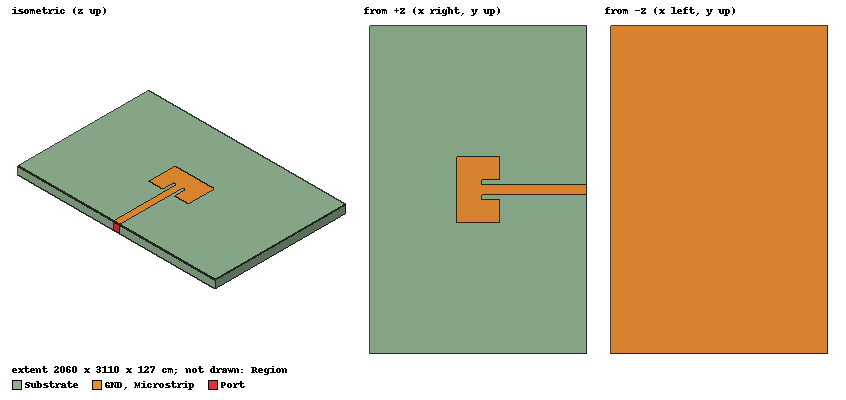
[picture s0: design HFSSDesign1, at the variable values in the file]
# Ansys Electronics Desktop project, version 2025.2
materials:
  vacuum: permittivity=1
  Sub: permittivity=10.2 permeability=1 dielectric_loss_tangent=0.003
  air: permittivity=1.0006 permeability=1.0000004

design HFSSDesign1 (HFSS, HFSS Modal Network, model units cm)
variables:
  W = 6.22m
  L = 4.12m
  x0 = W/2
  d0 = 0.45m  # optimise 0.193m..0.483m
  h = 1.27m
  W0 = 0.966m
  y0 = 1.713m
  lambda = 30m
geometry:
  Substrate [Sub] = box(corner=(-5*L/2, -5*W/2, 0cm), size=(5*L, 5*W, h))
  GND = object_from(Substrate.face(-z))
  Patch = rectangle(corner=(-L/2, -W/2, h), x_size=L, y_size=W)
  Transition = rectangle(corner=(L/2-y0, -W0/2, h), x_size=lambda/4, y_size=W0)
  Microstrip = rectangle(corner=(L/2-y0+lambda/4, -W0/2, h), x_size=5*L/2-(L/2-y0+lambda/4), y_size=W0)
  Microstrip.unite(Patch, Transition)
  Cut1 = rectangle(corner=(L/2-y0, -W0/2-d0, h), x_size=y0, y_size=d0)
  Cut2 = rectangle(corner=(L/2-y0, W0/2, h), x_size=y0, y_size=d0)
  Microstrip.subtract(Cut1, Cut2)
  Region [air] = region(absolute_offset=lambda/4 on all sides)
  Port = rectangle(corner=(5*L/2, -W0/2, 0cm), y_size=W0, z_size=h)
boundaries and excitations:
  PerfE1: Perfect E Objects=GND
  PerfE2: Perfect E Objects=Microstrip
  Rad1: Radiation Objects=Region
  1: Lumped Port Objects=Port LumpedPortType=Modal Modes{Mode1{IntLine{(1.03, 0, 0) -> (103cm, 0cm, 12cm)} CharImp=Zpi}} Impedance=50ohm
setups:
  Setup1: HfssDriven Frequency=10GHz MaxDeltaS=0.02 MaximumPasses=20 MinimumPasses=1 MinimumConvergedPasses=1 PercentRefinement=30 BasisOrder=1 PortAccuracy=2 DrivenSolverType="Direct Solver"
    sweep Sweep: 8GHz to 14GHz, 6000 points; Type=Fast SaveFields
  Setup2: HfssDriven Frequency=9.7633GHz MaxDeltaS=0.02 MaximumPasses=20 MinimumPasses=1 MinimumConvergedPasses=1 PercentRefinement=30 BasisOrder=1 PortAccuracy=2 DrivenSolverType="Direct Solver"
    sweep Sweep: 8GHz to 14GHz, 6000 points; Type=Fast SaveFields
  Setup3: HfssDriven Frequency=9.9923GHz MaxDeltaS=0.02 MaximumPasses=20 MinimumPasses=1 MinimumConvergedPasses=1 PercentRefinement=30 BasisOrder=1 PortAccuracy=2 DrivenSolverType="Direct Solver"
    sweep Sweep: 8GHz to 14GHz, 6000 points; Type=Fast SaveFields
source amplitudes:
  1:1: 1W 0deg
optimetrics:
  OptimizationSetup1: Optimization Optimizer="DX SCREENING" AnalysisStopOptions{StopForNumIteration MaxNumIteration=100 MinNumIteration=10} CostFuncNormType=L2 Acceptable_Cost=0 Noise=0.0001 UpdateDesignWhenDone
    goal dB(S(1,1)) Minimize 0 weight 1 on Setup1 : Sweep at Freq 10.0003333888981GHz
  ParametricSetup1: Parametric Sim._Setups=[Setup1, Setup2]
    sweep W: LIN 0.006338 0.00634 4e-07
    sweep L: LIN 0.004254 0.004256 4e-07
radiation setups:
  E_plane: Infinite Sphere Theta=-180deg..180deg step 1deg Phi=0deg..0deg step 0deg
  H_Plane: Infinite Sphere Theta=-180deg..180deg step 1deg Phi=90deg..90deg step 0deg
  3D_Sphere: Infinite Sphere Theta=0deg..180deg step 1deg Phi=0deg..360deg step 1deg
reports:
  Gain Plot1: dB(GainTotal) vs Theta on Setup3 : LastAdaptive, E_plane [Phi=all Freq=9.9923GHz W=all L=all]
  Gain Plot2: dB(GainTotal) vs Theta on Setup3 : LastAdaptive, H_Plane [Phi=all Freq=9.9923GHz W=all L=all]
  Gain Plot3: dB(GainTotal) vs Phi, Theta on Setup1 : LastAdaptive, 3D_Sphere [Freq=10GHz W=0.00622m L=0.00412m]
  Gain Plot4: dB(GainTotal) vs Phi, Theta on Setup3 : LastAdaptive, E_plane [Freq=9.9923GHz W=0.00622m L=0.00412m]
